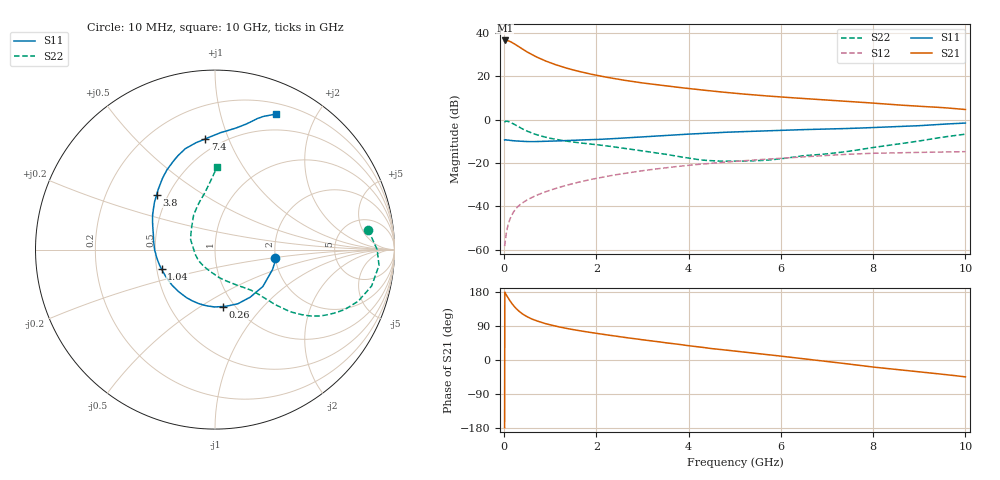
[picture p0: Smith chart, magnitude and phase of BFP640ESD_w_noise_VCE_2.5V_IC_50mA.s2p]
! Infineon Technologies  Discrete & RF Semiconductors
! BFP640ESD
! VCE =  2.5 V,  IC =  50 mA
! Common Emitter S-Parameters:  Jan 2016
# GHz  S  MA  R  50
!  f  S11  S21  S12  S22
! GHz  MAG  ANG  MAG  ANG  MAG  ANG  MAG  ANG
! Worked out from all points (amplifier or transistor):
!   233 points, 10 MHz to 10 GHz, reference 50 ohm
!   highest |S21| = 36.5 dB at 20 MHz (marker M1)
!   |S21| within 3 dB of that: start of sweep to 325.6 MHz
!   unconditionally stable (mu >= 1): start of sweep to 17.04 MHz; 1.439 GHz to 1.455 GHz; 1.46 GHz to 7.388 GHz (the widest 3 of 4)
!   at 200 MHz: K = 0.44, MSG = 39.0 dB, |S12| = -42.7 dB
!   at 1.74 GHz: K = 1.02, MAG = 24.1 dB, |S12| = -28.3 dB
!   at 10 GHz: K = 0.87, MSG = 9.7 dB, |S12| = -14.8 dB
!   lowest NFmin = 1.46 dB at 450 MHz
!   S11 on the Smith chart (normalised r, x): 10 MHz: 1.99, -0.22; 260 MHz: 0.89, -0.63; 1.04 GHz: 0.53, -0.13; 3.8 GHz: 0.43, +0.33; 7.4 GHz: 0.41, +0.83; 10 GHz: 0.31, +1.50
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0.01  0.3381 -8.2  63.41 -178.6  0.0012 117.4  0.8604 7.4
0.02  0.3426 -9.2  66.61 177.2  0.0014 97.3  0.9035 0.0
0.05  0.3393 -19.0  66.59 170.9  0.0025 77.4  0.918 -5.5
0.1  0.3368 -37.5  65.2 161.0  0.0042 77.3  0.8957 -13.1
0.15  0.3298 -53.5  61.5 151.8  0.0058 74.5  0.8492 -19.7
0.2  0.3275 -67.2  57.56 143.9  0.0073 71.2  0.7959 -24.8
0.26  0.3205 -81.7  52.34 135.7  0.0089 69.4  0.7325 -29.5
0.3  0.3196 -90.4  49.12 130.9  0.0099 68.4  0.6923 -32.3
0.4  0.314 -107.3  41.95 121.3  0.012 66.7  0.6057 -36.8
0.5  0.3111 -120.7  36.09 114.1  0.014 66.1  0.5385 -39.7
0.6  0.3099 -130.8  31.48 108.1  0.0159 66.1  0.4869 -41.3
0.8  0.3114 -146.5  24.79 99.4  0.0197 66.6  0.4162 -43.4
1.04  0.3172 -159.7  19.65 91.6  0.0243 66.9  0.3623 -45.1
1.68  0.3378 178.4  12.46 76.4  0.0373 65.6  0.2864 -50.0
2.4  0.364 161.8  8.742 63.3  0.0528 61.4  0.2328 -58.3
3.4  0.4217 143.6  6.162 47.3  0.0748 53.1  0.1637 -78.6
3.8  0.4467 136.7  5.487 41.1  0.0836 49.3  0.1394 -90.7
5.1  0.5225 120.1  3.943 22.2  0.1102 36.6  0.11 -150.7
6.8  0.5962 102.6  2.908 -0.9  0.1447 19.8  0.1549 150.5
7.4  0.6193 95.0  2.652 -9.6  0.1571 13.0  0.181 135.8
8.4  0.6752 82.3  2.223 -23.7  0.1697 1.0  0.2593 112.5
10  0.8289 65.7  1.703 -44.5  0.1816 -14.7  0.4598 88.5
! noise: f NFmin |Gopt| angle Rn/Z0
0.45  1.46  0.32  -168  0.11
0.9  1.47  0.35  -163  0.09
1.9  1.52  0.36  -142  0.13
2.4  1.54  0.37  -134  0.14
5.5  1.81  0.52  -97  0.32
10  2.48  0.61  -71  1.22
